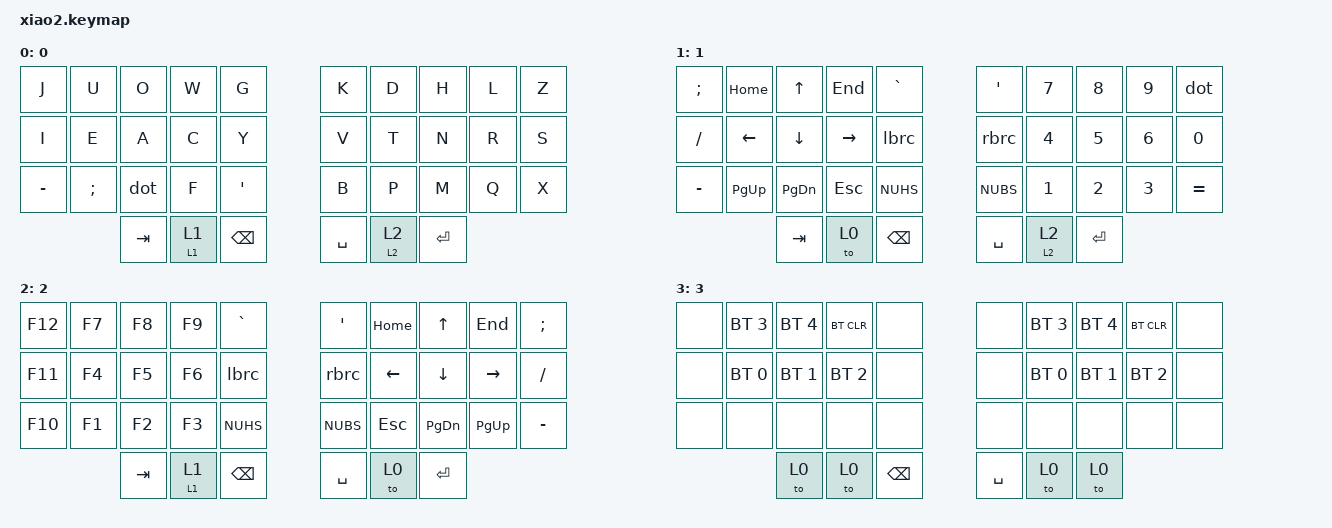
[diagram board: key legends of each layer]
#include <behaviors.dtsi>
#include <dt-bindings/zmk/keys.h>
#include <dt-bindings/zmk/bt.h>
#include <dt-bindings/zmk/outputs.h>

#define L0 0
#define L1 1
#define L2 2
#define L3 3




&mt {
   tapping-term-ms = <200>;
   quick-tap-ms = <100>;
   global-quick-tap;
   flavor = "tap-preferred";
};

&sk {
   release-after-ms = <2000>;
};

/ {

combos {
   compatible = "zmk,combos";
   combo_esc {
      timeout-ms = <50>;
      key-positions = <0 10>;
      bindings = <&kp ESC>;
   };
   combo_del {
      timeout-ms = <50>;
      key-positions = <9 19>;
      bindings = <&kp DEL>;
   };
   combo_lshift {
      timeout-ms = <50>;
      key-positions = <12 13>;
      bindings = <&sk LSHIFT>;
   };
   combo_lcrtl {
      timeout-ms = <50>;
      key-positions = <11 13>;
      bindings = <&sk LCTRL>;
   };
   combo_lalt {
      timeout-ms = <50>;
      key-positions = <10 13>;
      bindings = <&sk LALT>;
   };
   combo_lgui {
      timeout-ms = <50>;
      key-positions = <11 12>;
      bindings = <&sk LGUI>;
   };
   combo_rshift {
      timeout-ms = <50>;
      key-positions = <16 17>;
      bindings = <&sk RSHIFT>;
   };
   combo_rcrtl {
      timeout-ms = <50>;
      key-positions = <16 18>;
      bindings = <&sk LCTRL>;
   };
   combo_ralt {
      timeout-ms = <50>;
      key-positions = <16 19>;
      bindings = <&sk LALT>;
   };
   combo_rgui {
      timeout-ms = <50>;
      key-positions = <17 18>;
      bindings = <&kp LGUI>;
   };
   combo_ble1 {
      timeout-ms = <50>;
      key-positions = <30 31>;
      bindings = <&tomo 3 3>;
   };
   combo_ble2 {
      timeout-ms = <50>;
      key-positions = <34 35>;
      bindings = <&tomo 3 3>;
   };
};

 behaviors{
   lbrc: left_brackets{
      compatible = "zmk,behavior-mod-morph";
      label = "LEFT_BRACKET";
      #binding-cells = <0>;
      bindings = <&kp LBKT>, <&kp LT>;
      mods = <(MOD_LCTL|MOD_RCTL)>;
   };
   rbrc: right_brackets{
      compatible = "zmk,behavior-mod-morph";
      label = "RIGHT_BRACKET";
      #binding-cells = <0>;
      bindings = <&kp RBKT>, <&kp GT>;
      mods = <(MOD_LCTL|MOD_RCTL)>;
   };
   dot: dot{
      compatible = "zmk,behavior-mod-morph";
      label = "DOT";
      #binding-cells = <0>;
      bindings = <&kp DOT>, <&kp COMMA>;
      mods =<(MOD_LSFT|MOD_RSFT)>;
   };
   tomo: behavior_tomo {
      compatible = "zmk,behavior-hold-tap";
      label = "tomo";
      #binding-cells = <2>;
      flavor = "hold-preferred";
      tapping-term-ms = <200>;
      bindings = <&mo>, <&to>;
   };    
};

keymap {
compatible = "zmk,keymap";
0_layer {
label = "0";
bindings = <
   &kp J     &kp U     &kp O        &kp W     &kp G            &kp K     &kp D     &kp H     &kp L     &kp Z    
   &kp I     &kp E     &kp A        &kp C     &kp Y            &kp V     &kp T     &kp N     &kp R     &kp S 
   &kp MINUS &kp SEMI  &dot         &kp F     &kp SQT          &kp B     &kp P     &kp M     &kp Q     &kp X 
                       &kp TAB      &tomo 1 1 &kp BSPC         &kp SPACE &tomo 2 2 &kp RET
>;
};

1_layer {
label = "1";
bindings = <
   &kp SEMI   &kp HOME   &kp UP      &kp END   &kp GRAVE        &kp SQT   &kp N7      &kp N8    &kp N9    &dot 
   &kp FSLH   &kp LEFT   &kp DOWN    &kp RIGHT &lbrc            &rbrc     &kp N4      &kp N5    &kp N6    &kp N0
   &kp MINUS  &kp PG_UP  &kp PG_DN   &kp ESC   &kp NUHS         &kp NUBS  &kp N1      &kp N2    &kp N3    &kp EQUAL 
                         &kp TAB     &to 0     &kp BSPC         &kp SPACE &tomo 2 2   &kp RET
>;
};

2_layer {
label = "2";
bindings = <
   &kp F12    &kp F7   &kp F8     &kp F9       &kp GRAVE           &kp SQT    &kp HOME    &kp UP     &kp END      &kp SEMI     
   &kp F11    &kp F4   &kp F5     &kp F6       &lbrc               &rbrc      &kp LEFT    &kp DOWN   &kp RIGHT    &kp FSLH 
   &kp F10    &kp F1   &kp F2     &kp F3       &kp NUHS            &kp NUBS   &kp ESC     &kp PG_DN  &kp PG_UP    &kp MINUS  
                       &kp TAB    &tomo 1 1    &kp BSPC            &kp SPACE  &to 0       &kp RET
>;
};

3_layer {
label = "3";
bindings = <
   &none    &bt BT_SEL 3    &bt BT_SEL 4    &bt BT_CLR    &none                &none      &bt BT_SEL 3    &bt BT_SEL 4    &bt BT_CLR      &none     
   &none    &bt BT_SEL 0    &bt BT_SEL 1    &bt BT_SEL 2  &none                &none      &bt BT_SEL 0    &bt BT_SEL 1    &bt BT_SEL 2    &none  
   &none    &none           &none           &none         &none                &none      &none           &none           &none           &none  
                            &to 0           &to 0         &kp BSPC             &kp SPACE  &to 0           &to 0
>;
};

};

};
